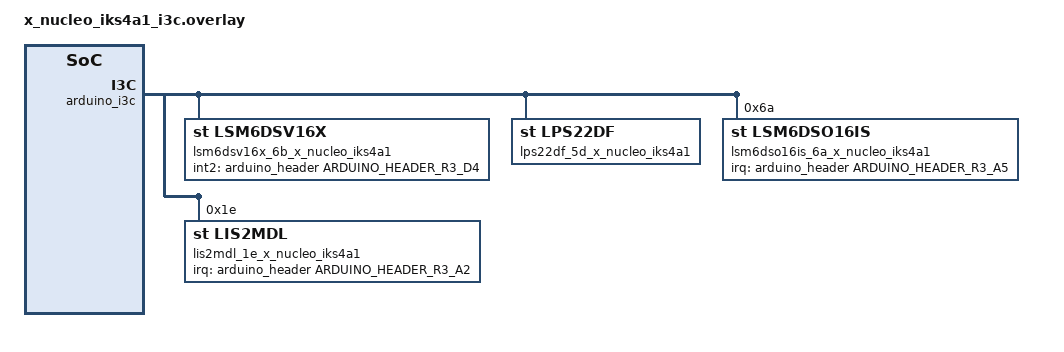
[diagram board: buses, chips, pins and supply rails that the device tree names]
/*
 * Copyright (c) 2026 STMicroelectronics
 *
 * SPDX-License-Identifier: Apache-2.0
 */

#include <zephyr/dt-bindings/gpio/arduino-header-r3.h>

/ {
	aliases {
		magn0 = &lis2mdl_1e_x_nucleo_iks4a1;
		accel0 = &lsm6dso16is_6a_x_nucleo_iks4a1;
		accel1 = &lsm6dsv16x_6b_x_nucleo_iks4a1;
		press0 = &lps22df_5d_x_nucleo_iks4a1;
	};
};

&arduino_i3c {
	lsm6dsv16x_6b_x_nucleo_iks4a1: lsm6dsv16x@00000002080070920b {
		compatible = "st,lsm6dsv16x";
		reg = <0x00 0x208 0x70920b>;
		accel-odr = <0x02>;
		gyro-odr = <0x02>;
		int2-gpios = <&arduino_header ARDUINO_HEADER_R3_D4 GPIO_ACTIVE_HIGH>;
		drdy-pin = <2>;
		drdy-pulsed;
		int-en-i3c;
	};

	lps22df_5d_x_nucleo_iks4a1: lps22df@000000020800b4900b {
		compatible = "st,lps22df";
		reg = <0x00 0x0208 0xb4900b>;
	};

	lsm6dso16is_6a_x_nucleo_iks4a1: lsm6dso16is@6a0000000000000010 {
		compatible = "st,lsm6dso16is";
		reg = <0x6a 0x00 0x10>;
		accel-odr = <0x1b>;
		gyro-odr = <0x11>;
		irq-gpios = <&arduino_header ARDUINO_HEADER_R3_A5 GPIO_ACTIVE_HIGH>;
		drdy-pin = <1>;
	};

	lis2mdl_1e_x_nucleo_iks4a1: lis2mdl@1e0000000000000010 {
		compatible = "st,lis2mdl";
		reg = <0x1e 0x00 0x10>;
		irq-gpios = <&arduino_header ARDUINO_HEADER_R3_A2 GPIO_ACTIVE_HIGH>;
	};
};
